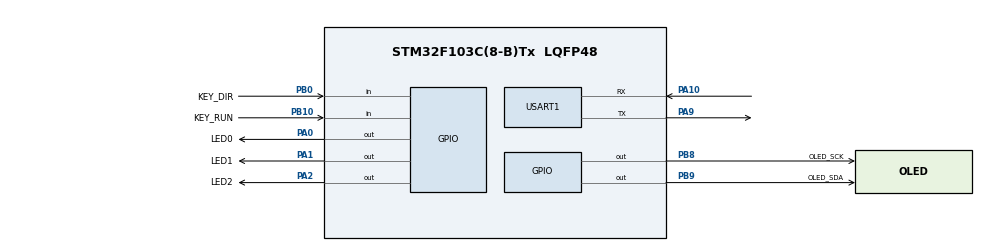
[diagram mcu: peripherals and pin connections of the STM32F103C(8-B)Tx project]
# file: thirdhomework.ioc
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Mcu.Family=STM32F1
Mcu.Name=STM32F103C(8-B)Tx
Mcu.Package=LQFP48
NVIC.PriorityGroup=NVIC_PRIORITYGROUP_4
NVIC.USART1_IRQn=true\:0\:0\:false\:false\:true\:true\:true\:true
PA0-WKUP.GPIO_Label=LED0
PA0-WKUP.Signal=GPIO_Output
PA1.GPIO_Label=LED1
PA1.Signal=GPIO_Output
PA10.Mode=Asynchronous
PA10.Signal=USART1_RX
PA13.Mode=Serial_Wire
PA13.Signal=SYS_JTMS-SWDIO
PA14.Mode=Serial_Wire
PA14.Signal=SYS_JTCK-SWCLK
PA2.GPIO_Label=LED2
PA2.Signal=GPIO_Output
PA9.Mode=Asynchronous
PA9.Signal=USART1_TX
PB0.GPIO_Label=KEY_DIR
PB0.GPIO_PuPd=GPIO_PULLUP
PB0.Signal=GPIO_Input
PB10.GPIO_Label=KEY_RUN
PB10.GPIO_PuPd=GPIO_PULLUP
PB10.Signal=GPIO_Input
PB8.GPIO_Label=OLED_SCK
PB8.GPIO_ModeDefaultOutputPP=GPIO_MODE_OUTPUT_OD
PB8.GPIO_PuPd=GPIO_NOPULL
PB8.GPIO_Speed=GPIO_SPEED_FREQ_HIGH
PB8.PinState=GPIO_PIN_SET
PB8.Signal=GPIO_Output
PB9.GPIO_Label=OLED_SDA
PB9.GPIO_ModeDefaultOutputPP=GPIO_MODE_OUTPUT_OD
PB9.GPIO_PuPd=GPIO_NOPULL
PB9.GPIO_Speed=GPIO_SPEED_FREQ_HIGH
PB9.PinState=GPIO_PIN_SET
PB9.Signal=GPIO_Output
PD0-OSC_IN.Mode=HSE-External-Oscillator
PD0-OSC_IN.Signal=RCC_OSC_IN
PD1-OSC_OUT.Mode=HSE-External-Oscillator
PD1-OSC_OUT.Signal=RCC_OSC_OUT
ProjectManager.HeapSize=0x200
ProjectManager.StackSize=0x400
ProjectManager.TargetToolchain=CMake
RCC.ADCPresc=RCC_ADCPCLK2_DIV6
RCC.AHBFreq_Value=72000000
RCC.APB1CLKDivider=RCC_HCLK_DIV2
RCC.APB1Freq_Value=36000000
RCC.APB1TimFreq_Value=72000000
RCC.APB2Freq_Value=72000000
RCC.APB2TimFreq_Value=72000000
RCC.HCLKFreq_Value=72000000
RCC.PLLMUL=RCC_PLL_MUL9
RCC.PLLSourceVirtual=RCC_PLLSOURCE_HSE
RCC.SYSCLKFreq_VALUE=72000000
RCC.SYSCLKSource=RCC_SYSCLKSOURCE_PLLCLK
RCC.USBFreq_Value=48000000
RCC.USBPrescaler=RCC_USBCLKSOURCE_PLL_DIV1_5
USART1.VirtualMode=VM_ASYNC
board=custom

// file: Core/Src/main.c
/* USER CODE BEGIN Header */
/**
  ******************************************************************************
  * @file           : main.c
  * @brief          : Main program body
  ******************************************************************************
  * @attention
  *
  * Copyright (c) 2026 STMicroelectronics.
  * All rights reserved.
  *
  * This software is licensed under terms that can be found in the LICENSE file
  * in the root directory of this software component.
  * If no LICENSE file comes with this software, it is provided AS-IS.
  *
  ******************************************************************************
  */
/* USER CODE END Header */
#include "main.h"

/* USER CODE BEGIN Includes */
#include "oled.h"
#include <stdio.h>
#include <string.h>
#include "protocol.h"
#include "feedback.h"
/* USER CODE END Includes */

/* USER CODE BEGIN PTD */
typedef struct {
  uint8_t run;   /* 1=运行, 0=暂停 */
  uint8_t dir;   /* 0=正向(PA0→PA1→PA2), 1=反向 */
  uint8_t led;   /* 当前点亮的 LED: 0/1/2 */
  uint16_t step_ms;
} sys_t;

typedef struct {
  GPIO_TypeDef *port;
  uint16_t      pin;
  uint8_t       stable;   /* 消抖后的状态: 1=按下 */
  uint8_t       raw;      /* 上一次原始采样 */
  uint8_t       cnt;      /* 连续相同次数 */
  void        (*on_press)(void);  /* 按下瞬间执行一次 */
} btn_t;
/* USER CODE END PTD */

/* USER CODE BEGIN PM */
#define LED_NUM          3
#define KEY_SCAN_MS      5    /* 每 5ms 扫一次 */
#define KEY_DEBOUNCE_CNT 4    /* 连续 4 次 = 20ms 才算稳定 */
#define LED_STEP_MS      300  /* 先写死 300ms，串口那步再改成变量 */
#define LED_ON   GPIO_PIN_RESET   /* 低电平点亮 */
#define LED_OFF  GPIO_PIN_SET
/* USER CODE END PM */

UART_HandleTypeDef huart1;

/* USER CODE BEGIN PV */
static sys_t sys = {1, 0, 0,300};   /* 上电：运行、正向、第 1 颗 */
static uint32_t last_step = 0;
static btn_t key_dir;
static btn_t key_run;
/* USER CODE END PV */

void SystemClock_Config(void);
static void MX_GPIO_Init(void);
static void MX_USART1_UART_Init(void);
/* USER CODE BEGIN PFP */
static void ui_poll(void);
static void led_show(uint8_t idx);
static void led_advance(void);
static void key_scan(btn_t *k);
static void on_key_dir(void);
static void on_key_run(void);
static void app_tick(uint32_t now);
/* USER CODE END PFP */

int main(void) {

  /* MCU Configuration--------------------------------------------------------*/

  /* Reset of all peripherals, Initializes the Flash interface and the Systick. */
  HAL_Init();

  /* Configure the system clock */
  SystemClock_Config();

  /* Initialize all configured peripherals */
  MX_GPIO_Init();
  MX_USART1_UART_Init();
  /* USER CODE BEGIN 2 */
  key_dir.port = KEY_DIR_GPIO_Port;
  key_dir.pin  = KEY_DIR_Pin;
  key_dir.on_press = on_key_dir;

  key_run.port = KEY_RUN_GPIO_Port;
  key_run.pin  = KEY_RUN_Pin;
  key_run.on_press = on_key_run;

  OLED_Init();
  protocol_start();
  feedback_mark();
  ui_poll();
  /* USER CODE END 2 */

  /* Infinite loop */
  while (1)
  {

    /* USER CODE BEGIN 3 */
    uint32_t now = HAL_GetTick();

    /* 5ms 扫一次按键（不用 HAL_Delay，主循环不被卡住） */
    static uint32_t key_tick = 0;
    if ((uint32_t)(now - key_tick) >= KEY_SCAN_MS) {
      key_tick = now;
      key_scan(&key_dir);
      key_scan(&key_run);
    }

    /* 流水灯推进 */
    app_tick(now);
    uint8_t  p_run, p_dir;
    uint16_t p_step;
    if (protocol_poll(&p_run, &p_dir, &p_step)) {
      sys.run     = p_run;
      sys.dir     = p_dir;
      sys.step_ms = p_step;
      last_step   = now;
      feedback_mark();
    }
    ui_poll();
    feedback_poll(sys.run, sys.dir, sys.step_ms, (uint8_t)(sys.led + 1u));
    /* USER CODE END 3 */
  }
}

  /**
    * @brief System Clock Configuration
    * @retval None
    */
  void SystemClock_Config(void)
  {
    RCC_OscInitTypeDef RCC_OscInitStruct = {0};
    RCC_ClkInitTypeDef RCC_ClkInitStruct = {0};

    /** Initializes the RCC Oscillators according to the specified parameters
    * in the RCC_OscInitTypeDef structure.
    */
    RCC_OscInitStruct.OscillatorType = RCC_OSCILLATORTYPE_HSE;
    RCC_OscInitStruct.HSEState = RCC_HSE_ON;
    RCC_OscInitStruct.HSEPredivValue = RCC_HSE_PREDIV_DIV1;
    RCC_OscInitStruct.HSIState = RCC_HSI_ON;
    RCC_OscInitStruct.PLL.PLLState = RCC_PLL_ON;
    RCC_OscInitStruct.PLL.PLLSource = RCC_PLLSOURCE_HSE;
    RCC_OscInitStruct.PLL.PLLMUL = RCC_PLL_MUL9;
    if (HAL_RCC_OscConfig(&RCC_OscInitStruct) != HAL_OK)
    {
      Error_Handler();
    }

    /** Initializes the CPU, AHB and APB buses clocks
    */
    RCC_ClkInitStruct.ClockType = RCC_CLOCKTYPE_HCLK|RCC_CLOCKTYPE_SYSCLK
                                |RCC_CLOCKTYPE_PCLK1|RCC_CLOCKTYPE_PCLK2;
    RCC_ClkInitStruct.SYSCLKSource = RCC_SYSCLKSOURCE_PLLCLK;
    RCC_ClkInitStruct.AHBCLKDivider = RCC_SYSCLK_DIV1;
    RCC_ClkInitStruct.APB1CLKDivider = RCC_HCLK_DIV2;
    RCC_ClkInitStruct.APB2CLKDivider = RCC_HCLK_DIV1;

    if (HAL_RCC_ClockConfig(&RCC_ClkInitStruct, FLASH_LATENCY_2) != HAL_OK)
    {
      Error_Handler();
    }
  }

  /**
    * @brief USART1 Initialization Function
    * @param None
    * @retval None
    */
  static void MX_USART1_UART_Init(void)
  {

    huart1.Instance = USART1;
    huart1.Init.BaudRate = 115200;
    huart1.Init.WordLength = UART_WORDLENGTH_8B;
    huart1.Init.StopBits = UART_STOPBITS_1;
    huart1.Init.Parity = UART_PARITY_NONE;
    huart1.Init.Mode = UART_MODE_TX_RX;
    huart1.Init.HwFlowCtl = UART_HWCONTROL_NONE;
    huart1.Init.OverSampling = UART_OVERSAMPLING_16;
    if (HAL_UART_Init(&huart1) != HAL_OK)
    {
      Error_Handler();
    }

  }

  /**
    * @brief GPIO Initialization Function
    * @param None
    * @retval None
    */
  static void MX_GPIO_Init(void)
  {
    GPIO_InitTypeDef GPIO_InitStruct = {0};

    /* GPIO Ports Clock Enable */
    __HAL_RCC_GPIOD_CLK_ENABLE();
    __HAL_RCC_GPIOA_CLK_ENABLE();
    __HAL_RCC_GPIOB_CLK_ENABLE();

    /*Configure GPIO pin Output Level */
    HAL_GPIO_WritePin(GPIOA, LED0_Pin|LED1_Pin|LED2_Pin, GPIO_PIN_RESET);

    /*Configure GPIO pin Output Level */
    HAL_GPIO_WritePin(GPIOB, OLED_SCK_Pin|OLED_SDA_Pin, GPIO_PIN_SET);

    /*Configure GPIO pins : LED0_Pin LED1_Pin LED2_Pin */
    GPIO_InitStruct.Pin = LED0_Pin|LED1_Pin|LED2_Pin;
    GPIO_InitStruct.Mode = GPIO_MODE_OUTPUT_PP;
    GPIO_InitStruct.Pull = GPIO_NOPULL;
    GPIO_InitStruct.Speed = GPIO_SPEED_FREQ_LOW;
    HAL_GPIO_Init(GPIOA, &GPIO_InitStruct);

    /*Configure GPIO pins : KEY_DIR_Pin KEY_RUN_Pin */
    GPIO_InitStruct.Pin = KEY_DIR_Pin|KEY_RUN_Pin;
    GPIO_InitStruct.Mode = GPIO_MODE_INPUT;
    GPIO_InitStruct.Pull = GPIO_PULLUP;
    HAL_GPIO_Init(GPIOB, &GPIO_InitStruct);

    /*Configure GPIO pins : OLED_SCK_Pin OLED_SDA_Pin */
    GPIO_InitStruct.Pin = OLED_SCK_Pin|OLED_SDA_Pin;
    GPIO_InitStruct.Mode = GPIO_MODE_OUTPUT_OD;
    GPIO_InitStruct.Pull = GPIO_NOPULL;
    GPIO_InitStruct.Speed = GPIO_SPEED_FREQ_HIGH;
    HAL_GPIO_Init(GPIOB, &GPIO_InitStruct);

  }

  /* USER CODE BEGIN 4 */
/* 按"当前下标"整体刷新，保证同一时刻只有一颗亮 */
static void led_show(uint8_t idx)
{
  HAL_GPIO_WritePin(GPIOA, LED0_Pin, (idx == 0) ? LED_ON : LED_OFF);
  HAL_GPIO_WritePin(GPIOA, LED1_Pin, (idx == 1) ? LED_ON : LED_OFF);
  HAL_GPIO_WritePin(GPIOA, LED2_Pin, (idx == 2) ? LED_ON : LED_OFF);
}

/* 按方向走一步：正向 +1，反向 -1，取模循环 */
static void led_advance(void)
{
  if (sys.dir == 0)
    sys.led = (uint8_t)((sys.led + 1u) % LED_NUM);
  else
    sys.led = (uint8_t)((sys.led + LED_NUM - 1u) % LED_NUM);
  led_show(sys.led);
}

/* 消抖状态机：只在"稳定变为按下"那一刻回调一次 */
static void key_scan(btn_t *k)
{
  uint8_t raw = (HAL_GPIO_ReadPin(k->port, k->pin) == GPIO_PIN_RESET) ? 1u : 0u;

  if (raw != k->raw) {        /* 电平变了，重新计时 */
    k->raw = raw;
    k->cnt = 0;
    return;
  }
  if (k->cnt < KEY_DEBOUNCE_CNT) {
    if (++k->cnt == KEY_DEBOUNCE_CNT && raw != k->stable) {
      k->stable = raw;
      if (raw && k->on_press) k->on_press();   /* 只在按下沿触发 */
    }
  }
}

/* 两个按键各自的动作：只改状态，不碰硬件 */
static void on_key_dir(void) { sys.dir ^= 1u; feedback_mark();}   /* 换向 */
static void on_key_run(void) { sys.run ^= 1u; feedback_mark();}   /* 暂停 / 继续 */

/* 非阻塞定时：到点走一步 */
static void app_tick(uint32_t now)
{
  if (!sys.run) return;                                  /* 暂停：不推进，但按键照常响应 */
  if ((uint32_t)(now - last_step) <  sys.step_ms) return;
  last_step = now;
  led_advance();
}
/* 把 sys 里的状态画到 OLED；只有文字真的变了才写屏 */
static void ui_poll(void)
{
  static char last[4][20];
  char buf[4][20];
  uint8_t changed = 0;

  snprintf(buf[0], sizeof buf[0], "STATE: %s",  sys.run ? "RUN" : "STOP");
  snprintf(buf[1], sizeof buf[1], "DIR: %s",    sys.dir ? "REV" : "FWD");
  snprintf(buf[2], sizeof buf[2], "STEP: %ums", (unsigned)sys.step_ms);
  snprintf(buf[3], sizeof buf[3], "LED: %u",    (unsigned)(sys.led + 1u));

  for (uint8_t i = 0; i < 4u; i++) {
    if (strcmp(buf[i], last[i]) != 0) {
      OLED_ShowLine(i, buf[i]);
      memcpy(last[i], buf[i], sizeof last[i]);
      changed = 1;
    }
  }
  if (changed) (void)OLED_Refresh();
}
  /* USER CODE END 4 */

  /**
    * @brief  This function is executed in case of error occurrence.
    * @retval None
    */
  void Error_Handler(void)
  {
    __disable_irq();
    while (1)
    {
    }
  }
